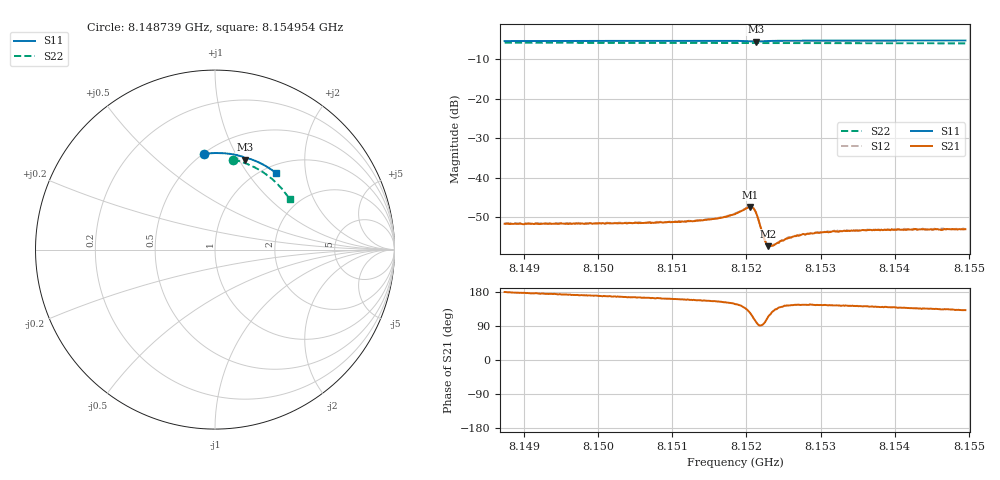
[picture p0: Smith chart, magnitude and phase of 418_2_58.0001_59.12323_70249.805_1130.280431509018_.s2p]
#  HZ  S  RI  R  50.00
! Rohde & Schwarz Vector Network Analyzer
! Rohde-Schwarz,ZNB20-2Port,1311601062101988,3.16
! Created: UTC 3/21/2024, 1:09:01 AM
! freq[Hz]  re:S11  im:S11  re:S21  im:S21  re:S12  im:S12  re:S22  im:S22
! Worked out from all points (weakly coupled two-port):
!   401 points, 8.148739 GHz to 8.154954 GHz, reference 50 ohm
!   highest |S21| = -47.38 dB at 8.152049 GHz (marker M1); lowest = -57.3 dB at 8.152297 GHz (marker M2)
!   lowest |S11| = -5.5 dB at 8.152126 GHz (marker M3), VSWR 3.24, Z = 38 + j52.9 ohm
!   |S11| at or under -10 dB: nowhere
!   |S22| runs from -6.0 to -5.8 dB; largest |S21 - S12| = 0.00013
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8.1487395e9  -0.0622 0.5328  -0.00262 2.44e-05  -0.00264 9.32e-05  0.1005 0.5013
8.1497804e9  0.0102 0.538  -0.00261 0.000398  -0.00261 0.000468  0.1653 0.4824
8.1508214e9  0.0827 0.5336  -0.0026 0.000796  -0.0026 0.000844  0.2263 0.4554
8.151272e9  0.1139 0.5283  -0.00261 0.00106  -0.00266 0.00109  0.2514 0.4412
8.1515361e9  0.1327 0.5242  -0.00273 0.00125  -0.00272 0.00134  0.2657 0.4323
8.1517536e9  0.1483 0.5196  -0.00287 0.00157  -0.00289 0.00164  0.2772 0.4244
8.1518468e9  0.1553 0.5169  -0.00292 0.00186  -0.00299 0.00188  0.2822 0.421
8.1520488e9  0.1678 0.505  -0.00243 0.00352  -0.0024 0.00359  0.2924 0.4133
8.1520954e9  0.1669 0.5018  -0.00146 0.00385  -0.00144 0.00388  0.2944 0.4115
8.1521265e9  0.1652 0.5016  -0.000739 0.00361  -0.000683 0.00364  0.296 0.4103
8.1521576e9  0.1643 0.5031  -0.000195 0.00306  -0.000172 0.00309  0.2974 0.4092
8.1522353e9  0.168 0.5077  -0.000194 0.00177  -0.000188 0.00172  0.3015 0.4065
8.1522663e9  0.1706 0.5087  -0.000377 0.00144  -0.000324 0.00149  0.303 0.4054
8.1522974e9  0.1734 0.509  -0.000584 0.00123  -0.00055 0.00126  0.3047 0.4041
8.1523285e9  0.1761 0.509  -0.000715 0.00117  -0.000699 0.00118  0.306 0.403
8.1523596e9  0.1788 0.509  -0.000867 0.00108  -0.000857 0.00114  0.3077 0.4017
8.152546e9  0.1932 0.5057  -0.00138 0.00101  -0.00133 0.00103  0.3169 0.3942
8.1526548e9  0.201 0.5034  -0.00151 0.00103  -0.00151 0.00107  0.3222 0.3898
8.1528878e9  0.2169 0.4976  -0.00164 0.0011  -0.00167 0.00116  0.3331 0.3798
8.153183e9  0.236 0.4893  -0.00171 0.00124  -0.00174 0.00126  0.3467 0.367
8.1539288e9  0.2821 0.4657  -0.00167 0.00143  -0.00165 0.00147  0.3784 0.3323
8.1549542e9  0.341 0.4265  -0.00148 0.00167  -0.00148 0.0017  0.4159 0.2804
